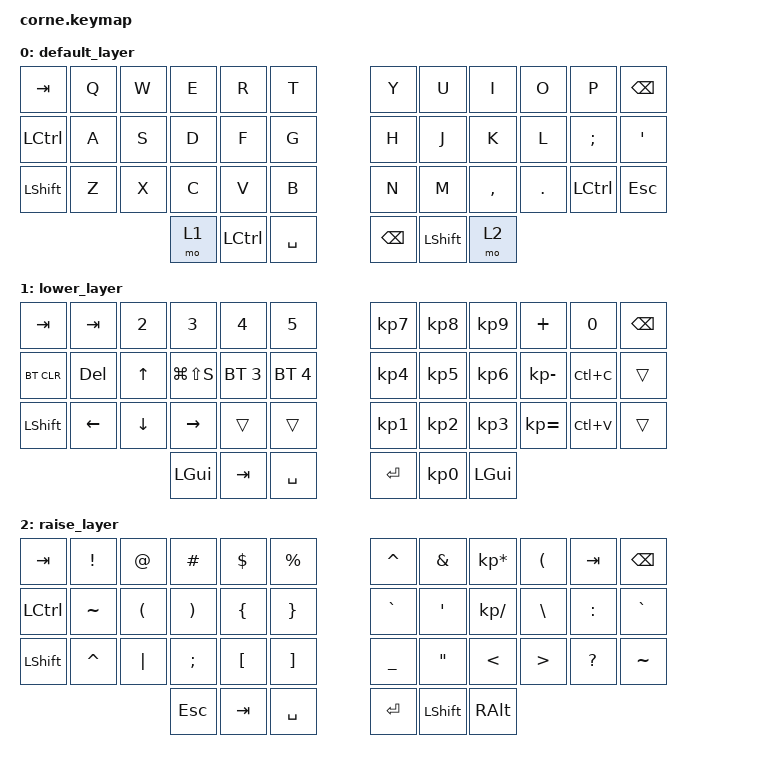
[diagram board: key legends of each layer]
/*
 * Copyright (c) 2020 The ZMK Contributors
 *
 * SPDX-License-Identifier: MIT
 */

#include <behaviors.dtsi>
#include <dt-bindings/zmk/bt.h>
#include <dt-bindings/zmk/keys.h>

/ {
    combos {
        compatible = "zmk,combos";

        RETURN_THUMBS {
            bindings = <&kp RETURN>;
            key-positions = <38 39>;
            layers = <0>;
            timeout-ms = <200>;
        };

        ALT_TAB_COMBO {
            bindings = <&kp LA(TAB)>;
            key-positions = <25 34>;
            timeout-ms = <200>;
            layers = <0>;
        };
    };

    keymap {
        compatible = "zmk,keymap";

        default_layer {
            // -----------------------------------------------------------------------------------------
            // |  TAB |  Q  |  W  |  E  |  R  |  T  |   |  Y  |  U   |  I  |  O  |  P  | BKSP |
            // | CTRL |  A  |  S  |  D  |  F  |  G  |   |  H  |  J   |  K  |  L  |  ;  |  '   |
            // | SHFT |  Z  |  X  |  C  |  V  |  B  |   |  N  |  M   |  ,  |  .  |  /  | ESC  |
            //                    | GUI | LWR | SPC |   | ENT | RSE  | ALT |

            bindings = <
&kp TAB    &kp Q  &kp W  &kp E  &kp R      &kp T        &kp Y     &kp U           &kp I      &kp O    &kp P             &kp BSPC
&kp LCTRL  &kp A  &kp S  &kp D  &kp F      &kp G        &kp H     &kp J           &kp K      &kp L    &kp SEMI          &kp SQT
&kp LSHFT  &kp Z  &kp X  &kp C  &kp V      &kp B        &kp N     &kp M           &kp COMMA  &kp DOT  &kp LEFT_CONTROL  &kp ESC
                         &mo 1  &kp LCTRL  &kp SPACE    &kp BSPC  &kp LEFT_SHIFT  &mo 2
            >;
        };

        lower_layer {
            // -----------------------------------------------------------------------------------------
            // |  TAB |  1  |  2  |  3  |  4  |  5  |   |  6  |  7  |  8  |  9  |  0  | BKSP |
            // | BTCLR| BT1 | BT2 | BT3 | BT4 | BT5 |   | LFT | DWN |  UP | RGT |     |      |
            // | SHFT |     |     |     |     |     |   |     |     |     |     |     |      |
            //                    | GUI |     | SPC |   | ENT |     | ALT |

            bindings = <
&kp TAB     &kp TAB         &kp N2          &kp N3           &kp N4        &kp N5          &kp KP_NUMBER_7  &kp KP_NUMBER_8  &kp KP_NUMBER_9  &kp PLUS      &kp N0     &kp BSPC
&bt BT_CLR  &kp DEL         &kp UP_ARROW    &kp LG(LS(S))    &bt BT_SEL 3  &bt BT_SEL 4    &kp KP_NUMBER_4  &kp KP_NUMBER_5  &kp KP_NUMBER_6  &kp KP_MINUS  &kp LC(C)  &trans
&kp LSHFT   &kp LEFT_ARROW  &kp DOWN_ARROW  &kp RIGHT_ARROW  &trans        &trans          &kp KP_NUMBER_1  &kp KP_NUMBER_2  &kp KP_NUMBER_3  &kp KP_EQUAL  &kp LC(V)  &trans
                                            &kp LGUI         &kp TAB       &kp SPACE       &kp RET          &kp KP_NUMBER_0  &kp LEFT_GUI
            >;
        };

        raise_layer {
            // -----------------------------------------------------------------------------------------
            // |  TAB |  !  |  @  |  #  |  $  |  %  |   |  ^  |  &  |  *  |  (  |  )  | BKSP |
            // | CTRL |     |     |     |     |     |   |  -  |  =  |  [  |  ]  |  \  |  `   |
            // | SHFT |     |     |     |     |     |   |  _  |  +  |  {  |  }  | "|" |  ~   |
            //                    | GUI |     | SPC |   | ENT |     | ALT |

            bindings = <
&kp TAB    &kp EXCL   &kp AT                &kp HASH               &kp DLLR          &kp PRCNT          &kp CARET  &kp AMPS           &kp KP_MULTIPLY  &kp LPAR          &kp TAB       &kp BSPC
&kp LCTRL  &kp TILDE  &kp LEFT_PARENTHESIS  &kp RIGHT_PARENTHESIS  &kp LEFT_BRACE    &kp RIGHT_BRACE    &kp GRAVE  &kp APOS           &kp KP_SLASH     &kp BACKSLASH     &kp COLON     &kp GRAVE
&kp LSHFT  &kp CARET  &kp PIPE              &kp SEMI               &kp LEFT_BRACKET  &kp RBKT           &kp UNDER  &kp DOUBLE_QUOTES  &kp LESS_THAN    &kp GREATER_THAN  &kp QUESTION  &kp TILDE
                                            &kp ESCAPE             &kp TAB           &kp SPACE          &kp RET    &kp LEFT_SHIFT     &kp RALT
            >;
        };
    };
};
